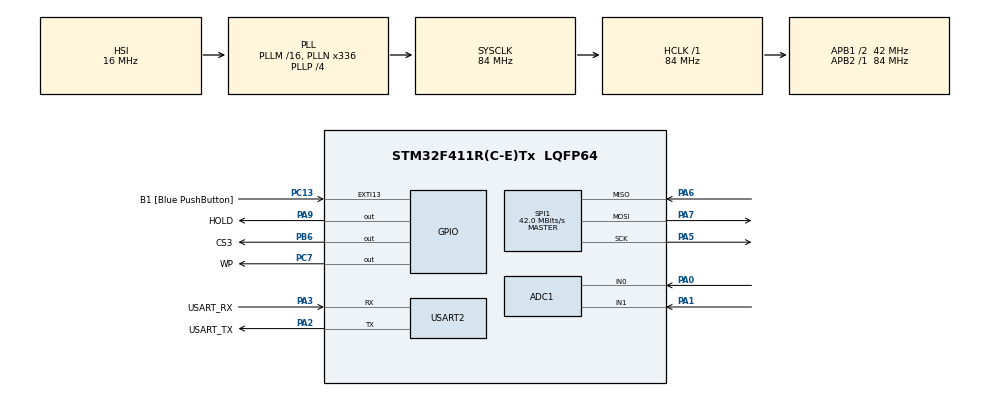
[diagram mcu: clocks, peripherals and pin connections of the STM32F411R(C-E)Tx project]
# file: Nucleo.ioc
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ADC1.Channel-0\#ChannelRegularConversion=ADC_CHANNEL_0
ADC1.Channel-1\#ChannelRegularConversion=ADC_CHANNEL_1
ADC1.Channel-2\#ChannelRegularConversion=ADC_CHANNEL_TEMPSENSOR
ADC1.ContinuousConvMode=ENABLE
ADC1.NbrOfConversion=3
ADC1.NbrOfConversionFlag=1
ADC1.Rank-0\#ChannelRegularConversion=1
ADC1.Rank-1\#ChannelRegularConversion=2
ADC1.Rank-2\#ChannelRegularConversion=3
ADC1.SamplingTime-0\#ChannelRegularConversion=ADC_SAMPLETIME_28CYCLES
ADC1.SamplingTime-1\#ChannelRegularConversion=ADC_SAMPLETIME_84CYCLES
ADC1.SamplingTime-2\#ChannelRegularConversion=ADC_SAMPLETIME_112CYCLES
ADC1.ScanConvMode=ENABLE
ADC1.master=1
FREERTOS.INCLUDE_vTaskDelayUntil=1
FREERTOS.Tasks01=ControlLogic,0,128,startControlLogic,Default,NULL,Static,ControlLogicBuffer,ControlLogicControlBlock;Acquisition,3,128,startAcquisition,Default,NULL,Static,AcquisitionBuffer,AcquisitionControlBlock;Processing,0,128,startProcessing,Default,NULL,Static,ProcessingBuffer,ProcessingControlBlock;Monitoring,-2,128,startMonitoring,Default,NULL,Static,MonitoringBuffer,MonitoringControlBlock
Mcu.Family=STM32F4
Mcu.Name=STM32F411R(C-E)Tx
Mcu.Package=LQFP64
NVIC.PriorityGroup=NVIC_PRIORITYGROUP_4
PA0-WKUP.Signal=ADCx_IN0
PA1.Signal=ADCx_IN1
PA13.GPIO_Label=TMS
PA13.Mode=Serial_Wire
PA13.Signal=SYS_JTMS-SWDIO
PA14.GPIO_Label=TCK
PA14.Mode=Serial_Wire
PA14.Signal=SYS_JTCK-SWCLK
PA2.GPIO_Label=USART_TX
PA2.Mode=Asynchronous
PA2.Signal=USART2_TX
PA3.GPIO_Label=USART_RX
PA3.Mode=Asynchronous
PA3.Signal=USART2_RX
PA5.Mode=Full_Duplex_Master
PA5.Signal=SPI1_SCK
PA6.Mode=Full_Duplex_Master
PA6.Signal=SPI1_MISO
PA7.Mode=Full_Duplex_Master
PA7.Signal=SPI1_MOSI
PA9.GPIO_Label=HOLD
PA9.Signal=GPIO_Output
PB3.GPIO_Label=SWO
PB3.Signal=SYS_JTDO-SWO
PB6.GPIO_Label=CS3
PB6.Signal=GPIO_Output
PC13-ANTI_TAMP.GPIO_Label=B1 [Blue PushButton]
PC13-ANTI_TAMP.GPIO_ModeDefaultEXTI=GPIO_MODE_IT_FALLING
PC13-ANTI_TAMP.Signal=GPXTI13
PC14-OSC32_IN.Mode=LSE-External-Oscillator
PC14-OSC32_IN.Signal=RCC_OSC32_IN
PC15-OSC32_OUT.Mode=LSE-External-Oscillator
PC15-OSC32_OUT.Signal=RCC_OSC32_OUT
PC7.GPIO_Label=WP
PC7.Signal=GPIO_Output
PH0\ -\ OSC_IN.Mode=HSE-External-Clock-Source
PH0\ -\ OSC_IN.Signal=RCC_OSC_IN
PH1\ -\ OSC_OUT.Mode=HSE-External-Clock-Source
PH1\ -\ OSC_OUT.Signal=RCC_OSC_OUT
ProjectManager.HeapSize=0x200
ProjectManager.StackSize=0x400
ProjectManager.TargetToolchain=STM32CubeIDE
RCC.48MHZClocksFreq_Value=84000000
RCC.AHBFreq_Value=84000000
RCC.APB1CLKDivider=RCC_HCLK_DIV2
RCC.APB1Freq_Value=42000000
RCC.APB1TimFreq_Value=84000000
RCC.APB2Freq_Value=84000000
RCC.APB2TimFreq_Value=84000000
RCC.CortexFreq_Value=84000000
RCC.FLatency-AdvancedSettings=FLASH_LATENCY_2
RCC.HCLKFreq_Value=84000000
RCC.HSE_VALUE=8000000
RCC.HSI_VALUE=16000000
RCC.PLLN=336
RCC.PLLP=RCC_PLLP_DIV4
RCC.SYSCLKFreq_VALUE=84000000
RCC.SYSCLKSource=RCC_SYSCLKSOURCE_PLLCLK
RCC.VCOOutputFreq_Value=336000000
SH.ADCx_IN0.0=ADC1_IN0,IN0
SH.ADCx_IN1.0=ADC1_IN1,IN1
SPI1.CalculateBaudRate=42.0 MBits/s
SPI1.Direction=SPI_DIRECTION_2LINES
SPI1.Mode=SPI_MODE_MASTER
SPI1.VirtualType=VM_MASTER
USART2.VirtualMode=VM_ASYNC
VP_ADC1_TempSens_Input.Mode=IN-TempSens
VP_FREERTOS_VS_CMSIS_V1.Mode=CMSIS_V1
board=NUCLEO-F411RE

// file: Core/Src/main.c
/* USER CODE BEGIN Header */
/**
  ******************************************************************************
  * @file           : main.c
  * @brief          : Main program body
  ******************************************************************************
  * @attention
  *
  * <h2><center>&copy; Copyright (c) 2021 STMicroelectronics.
  * All rights reserved.</center></h2>
  *
  * This software component is licensed by ST under BSD 3-Clause license,
  * the "License"; You may not use this file except in compliance with the
  * License. You may obtain a copy of the License at:
  *                        opensource.org/licenses/BSD-3-Clause
  *
  ******************************************************************************
  */
/* USER CODE END Header */
#include "main.h"
#include "cmsis_os.h"

/* USER CODE BEGIN Includes */
#include "task.h"
/* User-defined libraries */
#include <stdio.h>
#include <stdbool.h>
#include <stdint.h>

#include "retarget.h"

#include "../IncPSP/acquisition.h"
#include "../IncPSP/common.h"
#include "../IncPSP/controlLogic.h"
#include "../IncPSP/monitoring.h"
#include "../IncPSP/processing.h"
#include "../IncPSP/storage.h"
#include "../IncPSP/transmission.h"
#include "../IncPSP/gpio.h"
#include <string.h>

/* USER CODE END Includes */

ADC_HandleTypeDef hadc1;

SPI_HandleTypeDef hspi1;

UART_HandleTypeDef huart2;

osThreadId ControlLogicHandle;
uint32_t ControlLogicBuffer[ 128 ];
osStaticThreadDef_t ControlLogicControlBlock;
osThreadId AcquisitionHandle;
uint32_t AcquisitionBuffer[ 128 ];
osStaticThreadDef_t AcquisitionControlBlock;
osThreadId ProcessingHandle;
uint32_t ProcessingBuffer[ 128 ];
osStaticThreadDef_t ProcessingControlBlock;
osThreadId MonitoringHandle;
uint32_t MonitoringBuffer[ 128 ];
osStaticThreadDef_t MonitoringControlBlock;

void SystemClock_Config(void);
static void MX_GPIO_Init(void);
static void MX_USART2_UART_Init(void);
static void MX_ADC1_Init(void);
static void MX_SPI1_Init(void);
void startControlLogic(void const * argument);
void startAcquisition(void const * argument);
void startProcessing(void const * argument);
void startMonitoring(void const * argument);

int main(void)
{

  /* MCU Configuration--------------------------------------------------------*/

  /* Reset of all peripherals, Initializes the Flash interface and the Systick. */
  HAL_Init();

  /* Configure the system clock */
  SystemClock_Config();

  /* Initialize all configured peripherals */
  MX_GPIO_Init();
  MX_USART2_UART_Init();
  MX_ADC1_Init();
  MX_SPI1_Init();
  /* USER CODE BEGIN 2 */
  RetargetInit(&huart2);
  for(int i = 0; i < 500; i++) printf(" \r\n");
  HAL_Delay(250);
  printf("Starting:\r\n");
  HAL_Delay(250);
  /* USER CODE END 2 */

  /* Create the thread(s) */
  /* definition and creation of ControlLogic */
  osThreadStaticDef(ControlLogic, startControlLogic, osPriorityNormal, 0, 128, ControlLogicBuffer, &ControlLogicControlBlock);
  ControlLogicHandle = osThreadCreate(osThread(ControlLogic), NULL);

  /* definition and creation of Acquisition */
  osThreadStaticDef(Acquisition, startAcquisition, osPriorityRealtime, 0, 128, AcquisitionBuffer, &AcquisitionControlBlock);
  AcquisitionHandle = osThreadCreate(osThread(Acquisition), NULL);

  /* definition and creation of Processing */
  osThreadStaticDef(Processing, startProcessing, osPriorityNormal, 0, 128, ProcessingBuffer, &ProcessingControlBlock);
  ProcessingHandle = osThreadCreate(osThread(Processing), NULL);

  /* definition and creation of Monitoring */
  osThreadStaticDef(Monitoring, startMonitoring, osPriorityLow, 0, 128, MonitoringBuffer, &MonitoringControlBlock);
  MonitoringHandle = osThreadCreate(osThread(Monitoring), NULL);

  /* Start scheduler */
  osKernelStart();

  /* We should never get here as control is now taken by the scheduler */
  /* Infinite loop */
  while (1)
  {

  }
}

void SystemClock_Config(void)
{
  RCC_OscInitTypeDef RCC_OscInitStruct = {0};
  RCC_ClkInitTypeDef RCC_ClkInitStruct = {0};

  /** Configure the main internal regulator output voltage
  */
  __HAL_RCC_PWR_CLK_ENABLE();
  __HAL_PWR_VOLTAGESCALING_CONFIG(PWR_REGULATOR_VOLTAGE_SCALE1);
  /** Initializes the RCC Oscillators according to the specified parameters
  * in the RCC_OscInitTypeDef structure.
  */
  RCC_OscInitStruct.OscillatorType = RCC_OSCILLATORTYPE_HSI;
  RCC_OscInitStruct.HSIState = RCC_HSI_ON;
  RCC_OscInitStruct.HSICalibrationValue = RCC_HSICALIBRATION_DEFAULT;
  RCC_OscInitStruct.PLL.PLLState = RCC_PLL_ON;
  RCC_OscInitStruct.PLL.PLLSource = RCC_PLLSOURCE_HSI;
  RCC_OscInitStruct.PLL.PLLM = 16;
  RCC_OscInitStruct.PLL.PLLN = 336;
  RCC_OscInitStruct.PLL.PLLP = RCC_PLLP_DIV4;
  RCC_OscInitStruct.PLL.PLLQ = 4;
  if (HAL_RCC_OscConfig(&RCC_OscInitStruct) != HAL_OK)
  {
    Error_Handler();
  }
  /** Initializes the CPU, AHB and APB buses clocks
  */
  RCC_ClkInitStruct.ClockType = RCC_CLOCKTYPE_HCLK|RCC_CLOCKTYPE_SYSCLK
                              |RCC_CLOCKTYPE_PCLK1|RCC_CLOCKTYPE_PCLK2;
  RCC_ClkInitStruct.SYSCLKSource = RCC_SYSCLKSOURCE_PLLCLK;
  RCC_ClkInitStruct.AHBCLKDivider = RCC_SYSCLK_DIV1;
  RCC_ClkInitStruct.APB1CLKDivider = RCC_HCLK_DIV2;
  RCC_ClkInitStruct.APB2CLKDivider = RCC_HCLK_DIV1;

  if (HAL_RCC_ClockConfig(&RCC_ClkInitStruct, FLASH_LATENCY_2) != HAL_OK)
  {
    Error_Handler();
  }
}

static void MX_ADC1_Init(void)
{

  ADC_ChannelConfTypeDef sConfig = {0};

  /** Configure the global features of the ADC (Clock, Resolution, Data Alignment and number of conversion)
  */
  hadc1.Instance = ADC1;
  hadc1.Init.ClockPrescaler = ADC_CLOCK_SYNC_PCLK_DIV4;
  hadc1.Init.Resolution = ADC_RESOLUTION_12B;
  hadc1.Init.ScanConvMode = ENABLE;
  hadc1.Init.ContinuousConvMode = ENABLE;
  hadc1.Init.DiscontinuousConvMode = DISABLE;
  hadc1.Init.ExternalTrigConvEdge = ADC_EXTERNALTRIGCONVEDGE_NONE;
  hadc1.Init.ExternalTrigConv = ADC_SOFTWARE_START;
  hadc1.Init.DataAlign = ADC_DATAALIGN_RIGHT;
  hadc1.Init.NbrOfConversion = 3;
  hadc1.Init.DMAContinuousRequests = DISABLE;
  hadc1.Init.EOCSelection = ADC_EOC_SINGLE_CONV;
  if (HAL_ADC_Init(&hadc1) != HAL_OK)
  {
    Error_Handler();
  }
  /** Configure for the selected ADC regular channel its corresponding rank in the sequencer and its sample time.
  */
  sConfig.Channel = ADC_CHANNEL_0;
  sConfig.Rank = 1;
  sConfig.SamplingTime = ADC_SAMPLETIME_28CYCLES;
  if (HAL_ADC_ConfigChannel(&hadc1, &sConfig) != HAL_OK)
  {
    Error_Handler();
  }
  /** Configure for the selected ADC regular channel its corresponding rank in the sequencer and its sample time.
  */
  sConfig.Channel = ADC_CHANNEL_1;
  sConfig.Rank = 2;
  sConfig.SamplingTime = ADC_SAMPLETIME_84CYCLES;
  if (HAL_ADC_ConfigChannel(&hadc1, &sConfig) != HAL_OK)
  {
    Error_Handler();
  }
  /** Configure for the selected ADC regular channel its corresponding rank in the sequencer and its sample time.
  */
  sConfig.Channel = ADC_CHANNEL_TEMPSENSOR;
  sConfig.Rank = 3;
  sConfig.SamplingTime = ADC_SAMPLETIME_112CYCLES;
  if (HAL_ADC_ConfigChannel(&hadc1, &sConfig) != HAL_OK)
  {
    Error_Handler();
  }

}

static void MX_SPI1_Init(void)
{

  /* SPI1 parameter configuration*/
  hspi1.Instance = SPI1;
  hspi1.Init.Mode = SPI_MODE_MASTER;
  hspi1.Init.Direction = SPI_DIRECTION_2LINES;
  hspi1.Init.DataSize = SPI_DATASIZE_8BIT;
  hspi1.Init.CLKPolarity = SPI_POLARITY_LOW;
  hspi1.Init.CLKPhase = SPI_PHASE_1EDGE;
  hspi1.Init.NSS = SPI_NSS_SOFT;
  hspi1.Init.BaudRatePrescaler = SPI_BAUDRATEPRESCALER_2;
  hspi1.Init.FirstBit = SPI_FIRSTBIT_MSB;
  hspi1.Init.TIMode = SPI_TIMODE_DISABLE;
  hspi1.Init.CRCCalculation = SPI_CRCCALCULATION_DISABLE;
  hspi1.Init.CRCPolynomial = 10;
  if (HAL_SPI_Init(&hspi1) != HAL_OK)
  {
    Error_Handler();
  }

}

static void MX_USART2_UART_Init(void)
{

  huart2.Instance = USART2;
  huart2.Init.BaudRate = 115200;
  huart2.Init.WordLength = UART_WORDLENGTH_8B;
  huart2.Init.StopBits = UART_STOPBITS_1;
  huart2.Init.Parity = UART_PARITY_NONE;
  huart2.Init.Mode = UART_MODE_TX_RX;
  huart2.Init.HwFlowCtl = UART_HWCONTROL_NONE;
  huart2.Init.OverSampling = UART_OVERSAMPLING_16;
  if (HAL_UART_Init(&huart2) != HAL_OK)
  {
    Error_Handler();
  }

}

static void MX_GPIO_Init(void)
{
  GPIO_InitTypeDef GPIO_InitStruct = {0};

  /* GPIO Ports Clock Enable */
  __HAL_RCC_GPIOC_CLK_ENABLE();
  __HAL_RCC_GPIOH_CLK_ENABLE();
  __HAL_RCC_GPIOA_CLK_ENABLE();
  __HAL_RCC_GPIOB_CLK_ENABLE();

  /*Configure GPIO pin Output Level */
  HAL_GPIO_WritePin(WP_GPIO_Port, WP_Pin, GPIO_PIN_RESET);

  /*Configure GPIO pin Output Level */
  HAL_GPIO_WritePin(HOLD_GPIO_Port, HOLD_Pin, GPIO_PIN_RESET);

  /*Configure GPIO pin Output Level */
  HAL_GPIO_WritePin(CS3_GPIO_Port, CS3_Pin, GPIO_PIN_RESET);

  /*Configure GPIO pin : B1_Pin */
  GPIO_InitStruct.Pin = B1_Pin;
  GPIO_InitStruct.Mode = GPIO_MODE_IT_FALLING;
  GPIO_InitStruct.Pull = GPIO_NOPULL;
  HAL_GPIO_Init(B1_GPIO_Port, &GPIO_InitStruct);

  /*Configure GPIO pin : WP_Pin */
  GPIO_InitStruct.Pin = WP_Pin;
  GPIO_InitStruct.Mode = GPIO_MODE_OUTPUT_PP;
  GPIO_InitStruct.Pull = GPIO_NOPULL;
  GPIO_InitStruct.Speed = GPIO_SPEED_FREQ_LOW;
  HAL_GPIO_Init(WP_GPIO_Port, &GPIO_InitStruct);

  /*Configure GPIO pin : HOLD_Pin */
  GPIO_InitStruct.Pin = HOLD_Pin;
  GPIO_InitStruct.Mode = GPIO_MODE_OUTPUT_PP;
  GPIO_InitStruct.Pull = GPIO_NOPULL;
  GPIO_InitStruct.Speed = GPIO_SPEED_FREQ_LOW;
  HAL_GPIO_Init(HOLD_GPIO_Port, &GPIO_InitStruct);

  /*Configure GPIO pin : CS3_Pin */
  GPIO_InitStruct.Pin = CS3_Pin;
  GPIO_InitStruct.Mode = GPIO_MODE_OUTPUT_PP;
  GPIO_InitStruct.Pull = GPIO_NOPULL;
  GPIO_InitStruct.Speed = GPIO_SPEED_FREQ_LOW;
  HAL_GPIO_Init(CS3_GPIO_Port, &GPIO_InitStruct);

}

/* USER CODE BEGIN 4 */
bool printDiv = false;
/* USER CODE END 4 */

void startControlLogic(void const * argument)
{
  /* USER CODE BEGIN 5 */
	static TickType_t time_init = 0;
	uint32_t rowAddr = 0x00000000;
	uint16_t colAddr = 0x0000;
	uint8_t writeData1[16] = {0x01, 0x02, 0x03, 0x04, 0x11, 0x12, 0x13, 0x14, 0x21, 0x22, 0x23, 0x24, 0x31, 0x32, 0x33, 0x34};
	uint8_t writeData2[16] = {0x34, 0x33, 0x32, 0x31, 0x24, 0x23, 0x22, 0x21, 0x14, 0x13, 0x12, 0x11, 0x04, 0x03, 0x02, 0x01};
	uint8_t readData[16] = {0x00};
	uint8_t size = 16;
	uint8_t feature = 0x00;
	uint32_t goodRows = 0;
	uint32_t badRows = 0;
	uint32_t i = 0;
	bool badRow = false;
	bool nandNominal = false;

	printf("Variables declared \n\r");

	HAL_GPIO_WritePin(WP_GPIO_Port, WP_Pin, GPIO_PIN_SET);
	HAL_GPIO_WritePin(HOLD_GPIO_Port, HOLD_Pin, GPIO_PIN_SET);

	nandInit(&nandNominal);

	printf("Feature set \n\r");
	feature = getFeature(0xA0);
	printf("Feature %02X ", feature);
	feature = getFeature(0xB0);
	printf("%02X \n\r", feature);

	nandWrite(rowAddr, colAddr, writeData1, size);
	nandRead(rowAddr, colAddr, readData, size);
	for(i = 0; i < size; i++) printf("%02X ", readData[i]);
	printf("\n\r");
	nandWrite(rowAddr, colAddr, writeData2, size);
	nandRead(rowAddr, colAddr, readData, size);
	for(i = 0; i < size; i++) printf("%02X ", readData[i]);
	printf("\n\r");

	printf("Done %d \n\r", 1);
  /* Infinite loop */
	while(ENABLE_CONTROL_LOGIC) {

		vTaskDelayUntil(&time_init, CONTROL_LOGIC_TASK_DELAY);
	}
	vTaskDelete(NULL);
  /* USER CODE END 5 */
}

void startAcquisition(void const * argument)
{
  /* USER CODE BEGIN startAcquisition */
	static TickType_t time_init = 0;

	if(ENABLE_ACQUISITION) setup_A();
	printf("\n\n");
  /* Infinite loop */
	while(ENABLE_ACQUISITION) {
		switch(loop_A()) {
		case 1: vTaskDelayUntil(&time_init, ACQUISITION_TASK_DELAY1);
				break;

		case 2: vTaskDelayUntil(&time_init, ACQUISITION_TASK_DELAY2);
				break;

		default:vTaskDelayUntil(&time_init, ACQUISITION_TASK_DELAY0);
				break;
		}
		if(time_init > 4000) break;
	}
	//printf("%d\n\r",time_init);
	if(ENABLE_ACQUISITION) printDiv = false;
	vTaskDelete(NULL);

  /* USER CODE END startAcquisition */
}

void startProcessing(void const * argument)
{
  /* USER CODE BEGIN startProcessing */
  /* Infinite loop */
	static GPIO_PinState pressed = GPIO_PIN_SET;
	static int counter = 0;
	extern ui16 ala;

	static TickType_t time_init = 0;
  /* Infinite loop */
	while(ENABLE_PROCESSING) {
		if(HAL_GPIO_ReadPin(B1_GPIO_Port, B1_Pin) != pressed) {
			pressed = HAL_GPIO_ReadPin(B1_GPIO_Port, B1_Pin);
			if(!pressed) printf("PRESSED  %d\r\n", ++counter);
			else printf("RELEASED %d\r\n", counter);
		}
		vTaskDelayUntil(&time_init, PROCESSING_TASK_DELAY);

		imuRead_A();
		printf("ALA: %d\r\n", (int)ala);
	}
	vTaskDelete(NULL);
  /* USER CODE END startProcessing */
}

void startMonitoring(void const * argument)
{
  /* USER CODE BEGIN startMonitoring */
	static TickType_t time_init = 0;

	extern bool continuity[4];
	extern float batteryVoltage;
	extern float temperature;

	//printf("Monitoring Start\r\n");

	setup_M();

  /* Infinite loop */
	while(ENABLE_MONITORING) {
		//loop_M();

//		checkContinuity_M();
//		printf("Continuity: ");
//		for(int i = 0; i < 4; i++) printf("%d ", continuity[i]);
//		printf("\r\n");
		checkBatteryVoltage_M();
//		printf("%f\r\n", batteryVoltage);
		printf("Voltage 1: %d\r\n", (int)batteryVoltage);
		printf("Temperature: %d\r\n", (int)temperature);
		vTaskDelayUntil(&time_init, MONITORING_TASK_DELAY);
	}

	vTaskDelete(NULL);
  /* USER CODE END startMonitoring */
}

void Error_Handler(void)
{
  __disable_irq();
  while (1)
  {
  }
}

/************************ (C) COPYRIGHT STMicroelectronics *****END OF FILE****/
